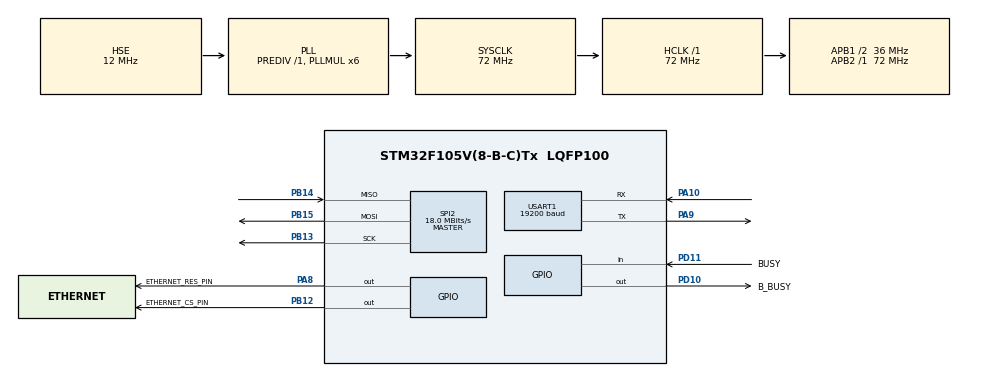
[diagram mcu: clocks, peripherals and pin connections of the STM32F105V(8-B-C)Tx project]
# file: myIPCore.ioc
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Mcu.Family=STM32F1
RCC.PLLSourceVirtual=RCC_PLLSOURCE_HSE
PA10.Mode=Asynchronous
SPI2.VirtualType=VM_MASTER
USART1.BaudRate=19200
VP_IWDG_VS_IWDG.Mode=IWDG_Activate
NVIC.TIM1_UP_IRQn=true\:0\:0\:false\:false\:true\:false\:true
RCC.APB1CLKDivider=RCC_HCLK_DIV2
PB15.Signal=SPI2_MOSI
PB13.Signal=SPI2_SCK
VP_SYS_VS_ND.Mode=No_Debug
RCC.SYSCLKSource=RCC_SYSCLKSOURCE_PLLCLK
ProjectManager.StackSize=0x400
PD10.Signal=GPIO_Output
PD11.GPIO_PuPd=GPIO_NOPULL
PA9.Mode=Asynchronous
PA8.GPIO_Label=ETHERNET_RES_PIN
ProjectManager.TargetToolchain=Makefile
PD11.GPIO_Label=BUSY
RCC.HCLKFreq_Value=72000000
RCC.APB2TimFreq_Value=72000000
PA9.Signal=USART1_TX
OSC_IN.Signal=RCC_OSC_IN
RCC.USBFreq_Value=48000000
OSC_OUT.Mode=HSE-External-Oscillator
PD10.GPIO_Label=B_BUSY
OSC_OUT.Signal=RCC_OSC_OUT
RCC.AHBFreq_Value=72000000
SPI2.BaudRatePrescaler=SPI_BAUDRATEPRESCALER_2
PB14.Signal=SPI2_MISO
RCC.HSE_VALUE=12000000
board=custom
RCC.PLLMUL=RCC_PLL_MUL6
PB15.Mode=Full_Duplex_Master
PB12.GPIO_Label=ETHERNET_CS_PIN
RCC.APB2Freq_Value=72000000
PB14.Mode=Full_Duplex_Master
VP_SYS_VS_tim1.Mode=TIM1
SPI2.CalculateBaudRate=18.0 MBits/s
PA8.Signal=GPIO_Output
Mcu.Name=STM32F105V(8-B-C)Tx
RCC.SYSCLKFreq_VALUE=72000000
Mcu.Package=LQFP100
NVIC.TimeBase=TIM1_UP_IRQn
SPI2.Mode=SPI_MODE_MASTER
OSC_IN.Mode=HSE-External-Oscillator
PD11.Signal=GPIO_Input
USART1.VirtualMode=VM_ASYNC
IWDG.Reload=3125
NVIC.TimeBaseIP=TIM1
PA10.Signal=USART1_RX
ProjectManager.HeapSize=0x200
PA8.GPIO_PuPd=GPIO_PULLUP
NVIC.PriorityGroup=NVIC_PRIORITYGROUP_4
IWDG.Prescaler=IWDG_PRESCALER_256
RCC.APB1TimFreq_Value=72000000
SPI2.Direction=SPI_DIRECTION_2LINES
PB13.Mode=Full_Duplex_Master
PB12.GPIO_PuPd=GPIO_PULLUP
RCC.APB1Freq_Value=36000000
PB12.Signal=GPIO_Output

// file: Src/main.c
/* USER CODE BEGIN Header */
/**
  ******************************************************************************
  * @file           : main.c
  * @brief          : Main program body
  ******************************************************************************
  * @attention
  *
  * <h2><center>&copy; Copyright (c) 2021 STMicroelectronics.
  * All rights reserved.</center></h2>
  *
  * This software component is licensed by ST under BSD 3-Clause license,
  * the "License"; You may not use this file except in compliance with the
  * License. You may obtain a copy of the License at:
  *                        opensource.org/licenses/BSD-3-Clause
  *
  ******************************************************************************
  */
/* USER CODE END Header */
#include "main.h"

/* USER CODE BEGIN Includes */
#include <string.h>
#include <stdio.h>
#include <stdlib.h>
#include "ulog.h"
#include "IPCore.h"
#include "EtherShield.h"
#include "more.h"

/* USER CODE END Includes */

IWDG_HandleTypeDef hiwdg;

SPI_HandleTypeDef hspi2;

UART_HandleTypeDef huart1;

void SystemClock_Config(void);
static void MX_GPIO_Init(void);
static void MX_SPI2_Init(void);
static void MX_USART1_UART_Init(void);
static void MX_IWDG_Init(void);

/* USER CODE BEGIN 0 */

//#define PRINT_FRAME
//#define PRINT_FRAME_FILTER 	ETH_TYPE_IP

#define RN	"\r\n"

//буфер под прием ETHERNET пакетов
//buffer for receiving ETHERNET packets
static uint8_t net_buf[1600];
#ifdef USE_DHCP
//использовать DHCP?
//use DHCP?
static uint8_t use_dhcp = 0;
#endif
//таймер на посылку пакета
//timer for sending a packet
static uint32_t tick_snd;
#ifdef USE_TCP
//таймер на TCP pool
//timer on TCP pool
static uint32_t tick_tcp_pool;
#endif

#ifdef USE_TCP
// ---------------------- HTTP SERVER EXAMPLE (TCP) -------------------------

#define HTTP_SERVER			"IPCore/1.0 Alfa"
#define HTTP_SERVER_PORT	80

const char http_200[] =
"HTTP/1.1 200 OK"RN
"Content-Type: text/html"RN
"Content-Encoding: identity"RN
"Server: "HTTP_SERVER""RN
"Connection: Closed"RN
""RN
;

const char html_index_header[] =
"<!DOCTYPE html>"RN
"<html  lang=\"en\">"RN
"	<head>"RN
"		<title>"HTTP_SERVER"</title>"RN
"		<meta charset=\"UTF-8\" />"RN
"	</head>"RN
"<body>"RN
;

const char html_index_body[] = "This is a test string<br>\r\n";

const char html_index_footer[] =
"</body>"RN
"</html>"
;

const char http_404[] =
"HTTP/1.1 404 Not Found"RN
"Server: "HTTP_SERVER""RN
"Connection: Closed"RN
""RN
"Not Found";

const char http_400[] =
"HTTP/1.1 400 Bad Request"RN
"Server: "HTTP_SERVER""RN
"Connection: Closed"RN
""RN
"Bad Request";

// ---------------------- HTTP CLIENT EXAMPLE (TCP) -------------------------

const char http_get[] =
"GET %s HTTP/1.1"RN
"Host: %s"RN
"Accept-Encoding: identity"RN
"Accept: */*"RN
"Connection: Close"RN
"User-Agent: Mozilla/5.0 (Windows NT 10.0; Win64; x64) AppleWebKit/537.36 (KHTML, like Gecko) Chrome/89.0.4389.90 Safari/537.36 Edg/89.0.774.57"RN
"Accept-Language: ru,en;q=0.9,en-GB;q=0.8,en-US;q=0.7"RN
""RN
;

#ifdef USE_DNS
#define HTTP_CLIENT_HOST	"example.com"
#else
#define HTTP_CLIENT_HOST	"93.184.216.34"
#endif
#define HTTP_CLIENT_PORT	80
#define HTTP_CLIENT_PATH	"/"
static uint32_t http_client_ip = 0;

#endif

// ---------------------- SIP CLIENT EXAMPLE (UDP) -------------------------

#ifdef USE_UDP

#ifdef USE_DNS
#define SIP_SERVER_HOST 	"iptel.org"
#else
#define SIP_SERVER_HOST 	"212.79.111.155"
#endif
#define SIP_SERVER_PORT		5060
#define SIP_CLIENT_ID		"3335"
#define SIP_CLIENT_PORT		12345
static uint32_t sip_client_ip = 0;

const char sip_snd_pack[] =
"REGISTER sip:"SIP_SERVER_HOST" SIP/2.0"RN
"Via: SIP/2.0/UDP %s:%d;rport;branch=z9hG4bKPj57ba556fab2b4d7aaffe54ae55cdb558"RN
"From: "SIP_CLIENT_ID"<sip:"SIP_CLIENT_ID"@"SIP_SERVER_HOST">;tag=e3228d7dac5c41a0b53ca65a25b81b44"RN
"To: "SIP_CLIENT_ID"<sip:"SIP_CLIENT_ID"@"SIP_SERVER_HOST">"RN
"Call-ID: d4ff74f019d44f04a50c1e4eceb350a8"RN
"CSeq: 12 REGISTER"RN
"Contact: *"RN
"Allow: INVITE, ACK, CANCEL, OPTIONS, BYE, REFER, NOTIFY, INFO, MESSAGE"RN
"Max-Forwards: 70"RN
"Expires: 0"RN
"Content-Length: 0"RN
""RN
;

#endif

// --------------------------------------------------------------------------

void print_ip_config(void)
{
	ulog_fmt("ip %s\r\n", ip2str(get_ip_addr()));
	ulog_fmt("rout %s\r\n", ip2str(get_ip_gateway()));
	ulog_fmt("mask %s\r\n", ip2str(get_ip_mask()));
#ifdef USE_DNS
	ulog_fmt("dns ip %s\r\n", ip2str(get_ip_dns()));
#endif
#ifdef USE_DHCP
	if (use_dhcp) {
		ulog_fmt("dhcp ip %s\r\n", ip2str(get_ip_dhcp()));
		ulog_fmt("dhcp lease time %ld\r\n", get_dhcp_lease_time_ms());
	}
#endif
}

// --------------- FUNCTIONS MUST BE DIFINED ---------------------------------

uint32_t get_ms(void)
{
	return HAL_GetTick();
}

void eth_send(uint8_t * data, uint16_t data_len)
{
	enc28j60PacketSend(data_len, data);

#ifdef PRINT_FRAME
#ifdef PRINT_FRAME_FILTER
	if (((eth_frame_t *)data)->type == PRINT_FRAME_FILTER)
#endif
		print_frame_k12(data, data_len);
#endif
}

#ifdef USE_DHCP
void dhcp_complete(void)
{
	ulog("dhcp comlete\r\n");
	print_ip_config();
}
#endif

#ifdef USE_TCP
void tcp_recv(uint8_t id, uint8_t * data, uint16_t data_len)
{
	ulog_fmt("tcp recv  id:%d data_len:%d\r\n", id, data_len);

	tcp_state_t * tcp_state = tcp_get_state(id);

	if (tcp_state->local_port == HTONS(HTTP_SERVER_PORT)) {
		//HTTP server
		if (memcmp(data, "GET / ", 6) == 0)	{
			//быстрая посылка данных только с ACK
			//fast data sending only with ACK
			tcp_send_ack(id, (uint8_t *)http_200, strlen(http_200));
			tcp_send_ack(id, (uint8_t *)html_index_header, strlen(html_index_header));
			for (int i = 0; i < 10; ++i) tcp_send_ack(id, (uint8_t *)html_index_body, strlen(html_index_body));
			tcp_send_fin(id, (uint8_t *)html_index_footer, strlen(html_index_footer)); //at the end send FIN
		}
		else if (memcmp(data, "GET /", 5) == 0)	tcp_send_fin(id, (uint8_t *)http_404, strlen(http_404));
		else tcp_send_fin(id, (uint8_t *)http_400, strlen(http_400));
	} else {
		//HTTP client
		//пришли данные с сервера от запросов HTTP клиента
		//data came from the server from HTTP client requests
		ulog("http client receive data:\r\n\r\n");
		data[data_len] = 0;
		ulog((char * )data);
		ulog("\r\n");
	}
}

void tcp_recv_connected(uint8_t id)
{
	char * buf;
	tcp_state_t * tcp_state = tcp_get_state(id);

	ulog_fmt("tcp connected id:%d connect to %s:%d\r\n", id, ip2str(tcp_state->remote_addr), NTOHS(tcp_state->remote_port));

	if ( http_client_ip && (tcp_state->remote_addr == http_client_ip) &&  (NTOHS(tcp_state->remote_port) == HTTP_CLIENT_PORT) ) {
		//http клиент соединился с удаленным хостом
		//http client connected to remote host
		buf = (char * )get_tcp_snd_packet_data();
		sprintf(buf, http_get, HTTP_CLIENT_PATH, HTTP_CLIENT_HOST);
		//запрос GET к клиенту
		//GET request to the client
		tcp_send_push(id, (uint8_t *)buf, strlen(buf));
		ulog("http client send GET:\r\n\r\n");
		ulog(buf);
		ulog("\r\n");
	}

}

void tcp_recv_closed(uint8_t id, uint8_t why)
{
	ulog_fmt("tcp closed  id:%d why:%d\r\n", id, why);
}

uint8_t tcp_accept(uint32_t from_addr, uint16_t from_port, uint16_t to_port)
{
	ulog_fmt("tcp accept  from %s:%d to port %d\r\n", ip2str(from_addr), NTOHS(from_port), NTOHS(to_port));
	//разрешаем соединение всем клиентам к нашему серверу на порту 80
	//allow all clients to connect to our server on port 80
	return NTOHS(to_port) == HTTP_SERVER_PORT;
}
#endif

#ifdef USE_UDP
void udp_recv(uint32_t from_addr, uint16_t from_port, uint16_t to_port, uint8_t * data, uint16_t data_len)
{
	ulog_fmt("udp rsv from %s:%d to port %d len %d\r\n", ip2str(from_addr), NTOHS(from_port), NTOHS(to_port), data_len);

	if ( sip_client_ip && (from_addr == sip_client_ip) &&  (NTOHS(from_port) == SIP_SERVER_PORT) ) {
		ulog("sip client receive data:\r\n\r\n");
		data[data_len] = 0;
		ulog((char * )data);
		ulog("\r\n");
	}
}
#endif

#ifdef WITH_TCP_REXMIT

void tcp_rexmit(uint8_t id, uint32_t rexmit_sec_num)
{

	tcp_state_t * tcp_state;

	tcp_state = tcp_get_state(id);
	tcp_state->status = TCP_ESTABLISHED;
	tcp_state->seq_num = rexmit_sec_num;

	//search from database packets where id (connection number) and database.rexmit_sec_num >= rexmit_sec_num
	//and repeat packets
	//tcp_send_flags(id, database.data, database.data_len, database.flags);

}

void tcp_rexmit_db_push(uint8_t id, uint32_t rexmit_sec_num, uint8_t * data, uint16_t data_len, uint8_t flags)
{
	//write to database id (connection number), rexmit_sec_num, data[data_len], flags
}

void tcp_rexmit_db_clear(uint8_t id)
{
	//clear from database where id (connection number)
}

void tcp_rexmit_db_pop(uint8_t id, uint32_t rexmit_sec_num)
{

}

#endif

// --------------- NET PROCESS ---------------------------------

void net_process(void)
{
	uint16_t eth_len;

	eth_len = ES_enc28j60PacketReceive(sizeof(net_buf), net_buf);
	if (eth_len > 0) {
#ifdef PRINT_FRAME
#ifdef PRINT_FRAME_FILTER
		if (((eth_frame_t *)net_buf)->type == PRINT_FRAME_FILTER)
#endif
			print_frame_k12(net_buf, eth_len);
#endif
		eth_recv(net_buf, eth_len);
	}

#ifdef USE_DHCP
	if (use_dhcp) {
		if (!dhcp_resolve()) return; //return if dhcp not resolve
	}
#endif

#ifdef USE_TCP
	if  (MS_DIFF_NOW(tick_tcp_pool) > TCP_CONN_TIMEOUT) {
		tick_tcp_pool = get_ms();
		tcp_poll(); //call pooll periodically
	}
#endif

	if  (MS_DIFF_NOW(tick_snd) > 30000) { // once every 30 sec
		tick_snd = get_ms();

 	 	//HTTP CLIENT EXAMPLE (TCP)
#ifdef USE_TCP

#ifdef USE_DNS
		if (!http_client_ip) http_client_ip = dns_resolve(HTTP_CLIENT_HOST);
#else
		if (!http_client_ip) http_client_ip = str2ip(HTTP_CLIENT_HOST);
#endif
		if (http_client_ip) {
			uint16_t free_port = tcp_get_free_port();
			uint8_t id = tcp_send_connect(http_client_ip, HTONS(HTTP_CLIENT_PORT), HTONS(free_port));
			if (id != 0xff)	ulog_fmt("http client send connect successful id:%d\r\n", id);
		}
#endif

		//SIP CLIENT EXAMPLE (UDP)
#ifdef USE_UDP

#ifdef USE_DNS
		if (!sip_client_ip) sip_client_ip = dns_resolve(SIP_SERVER_HOST);
#else
		if (!sip_client_ip) sip_client_ip = str2ip(SIP_SERVER_HOST);
#endif

		if (sip_client_ip) {
			char * buf = (char * )get_udp_snd_packet_data();
			sprintf(buf, sip_snd_pack, ip2str(get_ip_addr()), SIP_CLIENT_PORT);
			if ( udp_send(sip_client_ip, HTONS(SIP_SERVER_PORT), HTONS(SIP_CLIENT_PORT), (uint8_t *)buf, strlen(buf)) ) {
				ulog("sip send REGISTER to "SIP_SERVER_HOST"\r\n\r\n");
				ulog(buf);
				ulog("\r\n");
			}
		}
#endif

	}

}

/* USER CODE END 0 */

int main(void)
{

  /* MCU Configuration--------------------------------------------------------*/

  /* Reset of all peripherals, Initializes the Flash interface and the Systick. */
  HAL_Init();

  /* Configure the system clock */
  SystemClock_Config();

  /* Initialize all configured peripherals */
  MX_GPIO_Init();
  MX_SPI2_Init();
  MX_USART1_UART_Init();
  MX_IWDG_Init();
  /* USER CODE BEGIN 2 */

  ulog_fmt("start myIPCore ver:%d\r\n", 9877);

  HAL_GPIO_WritePin(ETHERNET_RES_PORT, ETHERNET_RES_PIN, GPIO_PIN_SET);
  HAL_Delay(100);
  HAL_GPIO_WritePin(ETHERNET_RES_PORT, ETHERNET_RES_PIN, GPIO_PIN_RESET);
  HAL_Delay(100);
  HAL_GPIO_WritePin(ETHERNET_RES_PORT, ETHERNET_RES_PIN, GPIO_PIN_SET);
  HAL_Delay(500);

  uint8_t mac[6] = {0x1c,0x1b, 0x0d, 0x2c, 0xcb, 0x55};
  ES_enc28j60SpiInit(&hspi2);
  ES_enc28j60Init(mac);
  HAL_Delay(500);

  ipcore_init();
  set_mac(mac);

#ifdef USE_DHCP
  if (use_dhcp) {
	  dhcp_init();
  } else  {
#endif
	  set_ip_addr(str2ip("192.168.100.190"));
	  set_ip_mask(str2ip("255.255.255.0"));
	  set_ip_gateway(str2ip("192.168.100.1"));
#ifdef USE_DNS
	  set_ip_dns(str2ip("8.8.8.8"));
#endif
	  print_ip_config();
	  //arp_resolve(get_ip_gateway());
#ifdef USE_DHCP
  }
#endif

//  uint32_t tick_rst = get_ms();
//  uint8_t work_minutes = 3;
  uint32_t iwdg_tick = get_ms();
  tick_snd = get_ms();
#ifdef USE_TCP
  tick_tcp_pool = get_ms();
#endif

  /* USER CODE END 2 */

  /* Infinite loop */
  while (1)
  {

    /* USER CODE BEGIN 3 */

	  net_process();

//	  if  (MS_DIFF_NOW(tick_rst) >  60000) {
//		tick_rst = HAL_GetTick();
//		work_minutes--;
//		ulog_fmt("reset after %d minutes\r\n", work_minutes);
//		if (work_minutes == 0) NVIC_SystemReset(); //work only work_minutes
//	  }

	  if (MS_DIFF_NOW(iwdg_tick) > 100) {
			iwdg_tick = HAL_GetTick();
			HAL_IWDG_Refresh(&hiwdg); // reset WatchDog
	  }
  }
  /* USER CODE END 3 */
}

void SystemClock_Config(void)
{
  RCC_OscInitTypeDef RCC_OscInitStruct = {0};
  RCC_ClkInitTypeDef RCC_ClkInitStruct = {0};

  /** Initializes the RCC Oscillators according to the specified parameters
  * in the RCC_OscInitTypeDef structure.
  */
  RCC_OscInitStruct.OscillatorType = RCC_OSCILLATORTYPE_LSI|RCC_OSCILLATORTYPE_HSE;
  RCC_OscInitStruct.HSEState = RCC_HSE_ON;
  RCC_OscInitStruct.HSEPredivValue = RCC_HSE_PREDIV_DIV1;
  RCC_OscInitStruct.HSIState = RCC_HSI_ON;
  RCC_OscInitStruct.LSIState = RCC_LSI_ON;
  RCC_OscInitStruct.Prediv1Source = RCC_PREDIV1_SOURCE_HSE;
  RCC_OscInitStruct.PLL.PLLState = RCC_PLL_ON;
  RCC_OscInitStruct.PLL.PLLSource = RCC_PLLSOURCE_HSE;
  RCC_OscInitStruct.PLL.PLLMUL = RCC_PLL_MUL6;
  RCC_OscInitStruct.PLL2.PLL2State = RCC_PLL_NONE;
  if (HAL_RCC_OscConfig(&RCC_OscInitStruct) != HAL_OK)
  {
    Error_Handler();
  }
  /** Initializes the CPU, AHB and APB buses clocks
  */
  RCC_ClkInitStruct.ClockType = RCC_CLOCKTYPE_HCLK|RCC_CLOCKTYPE_SYSCLK
                              |RCC_CLOCKTYPE_PCLK1|RCC_CLOCKTYPE_PCLK2;
  RCC_ClkInitStruct.SYSCLKSource = RCC_SYSCLKSOURCE_PLLCLK;
  RCC_ClkInitStruct.AHBCLKDivider = RCC_SYSCLK_DIV1;
  RCC_ClkInitStruct.APB1CLKDivider = RCC_HCLK_DIV2;
  RCC_ClkInitStruct.APB2CLKDivider = RCC_HCLK_DIV1;

  if (HAL_RCC_ClockConfig(&RCC_ClkInitStruct, FLASH_LATENCY_2) != HAL_OK)
  {
    Error_Handler();
  }
  /** Configure the Systick interrupt time
  */
  __HAL_RCC_PLLI2S_ENABLE();
}

static void MX_IWDG_Init(void)
{

  hiwdg.Instance = IWDG;
  hiwdg.Init.Prescaler = IWDG_PRESCALER_256;
  hiwdg.Init.Reload = 3125;
  if (HAL_IWDG_Init(&hiwdg) != HAL_OK)
  {
    Error_Handler();
  }

}

static void MX_SPI2_Init(void)
{

  /* SPI2 parameter configuration*/
  hspi2.Instance = SPI2;
  hspi2.Init.Mode = SPI_MODE_MASTER;
  hspi2.Init.Direction = SPI_DIRECTION_2LINES;
  hspi2.Init.DataSize = SPI_DATASIZE_8BIT;
  hspi2.Init.CLKPolarity = SPI_POLARITY_LOW;
  hspi2.Init.CLKPhase = SPI_PHASE_1EDGE;
  hspi2.Init.NSS = SPI_NSS_SOFT;
  hspi2.Init.BaudRatePrescaler = SPI_BAUDRATEPRESCALER_2;
  hspi2.Init.FirstBit = SPI_FIRSTBIT_MSB;
  hspi2.Init.TIMode = SPI_TIMODE_DISABLE;
  hspi2.Init.CRCCalculation = SPI_CRCCALCULATION_DISABLE;
  hspi2.Init.CRCPolynomial = 10;
  if (HAL_SPI_Init(&hspi2) != HAL_OK)
  {
    Error_Handler();
  }

}

static void MX_USART1_UART_Init(void)
{

  huart1.Instance = USART1;
  huart1.Init.BaudRate = 19200;
  huart1.Init.WordLength = UART_WORDLENGTH_8B;
  huart1.Init.StopBits = UART_STOPBITS_1;
  huart1.Init.Parity = UART_PARITY_NONE;
  huart1.Init.Mode = UART_MODE_TX_RX;
  huart1.Init.HwFlowCtl = UART_HWCONTROL_NONE;
  huart1.Init.OverSampling = UART_OVERSAMPLING_16;
  if (HAL_UART_Init(&huart1) != HAL_OK)
  {
    Error_Handler();
  }

}

static void MX_GPIO_Init(void)
{
  GPIO_InitTypeDef GPIO_InitStruct = {0};

  /* GPIO Ports Clock Enable */
  __HAL_RCC_GPIOB_CLK_ENABLE();
  __HAL_RCC_GPIOD_CLK_ENABLE();
  __HAL_RCC_GPIOA_CLK_ENABLE();

  /*Configure GPIO pin Output Level */
  HAL_GPIO_WritePin(ETHERNET_CS_PIN_GPIO_Port, ETHERNET_CS_PIN_Pin, GPIO_PIN_RESET);

  /*Configure GPIO pin Output Level */
  HAL_GPIO_WritePin(B_BUSY_GPIO_Port, B_BUSY_Pin, GPIO_PIN_RESET);

  /*Configure GPIO pin Output Level */
  HAL_GPIO_WritePin(ETHERNET_RES_PIN_GPIO_Port, ETHERNET_RES_PIN_Pin, GPIO_PIN_RESET);

  /*Configure GPIO pin : ETHERNET_CS_PIN_Pin */
  GPIO_InitStruct.Pin = ETHERNET_CS_PIN_Pin;
  GPIO_InitStruct.Mode = GPIO_MODE_OUTPUT_PP;
  GPIO_InitStruct.Pull = GPIO_PULLUP;
  GPIO_InitStruct.Speed = GPIO_SPEED_FREQ_LOW;
  HAL_GPIO_Init(ETHERNET_CS_PIN_GPIO_Port, &GPIO_InitStruct);

  /*Configure GPIO pin : B_BUSY_Pin */
  GPIO_InitStruct.Pin = B_BUSY_Pin;
  GPIO_InitStruct.Mode = GPIO_MODE_OUTPUT_PP;
  GPIO_InitStruct.Pull = GPIO_NOPULL;
  GPIO_InitStruct.Speed = GPIO_SPEED_FREQ_LOW;
  HAL_GPIO_Init(B_BUSY_GPIO_Port, &GPIO_InitStruct);

  /*Configure GPIO pin : BUSY_Pin */
  GPIO_InitStruct.Pin = BUSY_Pin;
  GPIO_InitStruct.Mode = GPIO_MODE_INPUT;
  GPIO_InitStruct.Pull = GPIO_NOPULL;
  HAL_GPIO_Init(BUSY_GPIO_Port, &GPIO_InitStruct);

  /*Configure GPIO pin : ETHERNET_RES_PIN_Pin */
  GPIO_InitStruct.Pin = ETHERNET_RES_PIN_Pin;
  GPIO_InitStruct.Mode = GPIO_MODE_OUTPUT_PP;
  GPIO_InitStruct.Pull = GPIO_PULLUP;
  GPIO_InitStruct.Speed = GPIO_SPEED_FREQ_LOW;
  HAL_GPIO_Init(ETHERNET_RES_PIN_GPIO_Port, &GPIO_InitStruct);

}

 /**
  * @brief  Period elapsed callback in non blocking mode
  * @note   This function is called  when TIM1 interrupt took place, inside
  * HAL_TIM_IRQHandler(). It makes a direct call to HAL_IncTick() to increment
  * a global variable "uwTick" used as application time base.
  * @param  htim : TIM handle
  * @retval None
  */
void HAL_TIM_PeriodElapsedCallback(TIM_HandleTypeDef *htim)
{
  if (htim->Instance == TIM1) {
    HAL_IncTick();
  }
}

void Error_Handler(void)
{
  __disable_irq();
  while (1)
  {
  }
}

/************************ (C) COPYRIGHT STMicroelectronics *****END OF FILE****/
